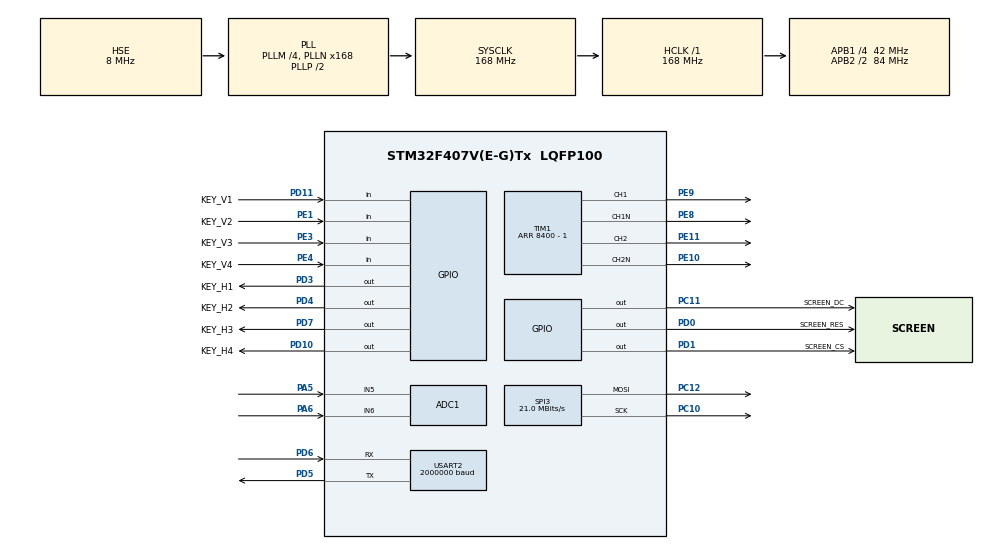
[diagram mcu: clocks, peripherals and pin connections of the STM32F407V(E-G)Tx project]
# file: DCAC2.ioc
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ADC1.Channel-0\#ChannelRegularConversion=ADC_CHANNEL_5
ADC1.Channel-1\#ChannelRegularConversion=ADC_CHANNEL_6
ADC1.ContinuousConvMode=ENABLE
ADC1.DMAContinuousRequests=ENABLE
ADC1.ExternalTrigConv=ADC_SOFTWARE_START
ADC1.ExternalTrigConvEdge=ADC_EXTERNALTRIGCONVEDGE_NONE
ADC1.NbrOfConversion=2
ADC1.NbrOfConversionFlag=1
ADC1.Rank-0\#ChannelRegularConversion=1
ADC1.Rank-1\#ChannelRegularConversion=2
ADC1.SamplingTime-0\#ChannelRegularConversion=ADC_SAMPLETIME_84CYCLES
ADC1.SamplingTime-1\#ChannelRegularConversion=ADC_SAMPLETIME_84CYCLES
ADC1.ScanConvMode=ENABLE
ADC1.master=1
Dma.ADC1.0.Direction=DMA_PERIPH_TO_MEMORY
Dma.ADC1.0.FIFOMode=DMA_FIFOMODE_DISABLE
Dma.ADC1.0.Instance=DMA2_Stream0
Dma.ADC1.0.MemDataAlignment=DMA_MDATAALIGN_WORD
Dma.ADC1.0.MemInc=DMA_MINC_ENABLE
Dma.ADC1.0.Mode=DMA_CIRCULAR
Dma.ADC1.0.PeriphDataAlignment=DMA_PDATAALIGN_WORD
Dma.ADC1.0.PeriphInc=DMA_PINC_DISABLE
Dma.ADC1.0.Priority=DMA_PRIORITY_LOW
Dma.Request0=ADC1
Mcu.Family=STM32F4
Mcu.Name=STM32F407V(E-G)Tx
Mcu.Package=LQFP100
NVIC.DMA2_Stream0_IRQn=true\:2\:0\:true\:false\:true\:false\:true\:true
NVIC.PriorityGroup=NVIC_PRIORITYGROUP_4
NVIC.TIM2_IRQn=true\:0\:0\:false\:false\:true\:true\:true\:true
NVIC.TIM3_IRQn=true\:0\:0\:false\:false\:true\:true\:true\:true
PA13.Mode=Serial_Wire
PA13.Signal=SYS_JTMS-SWDIO
PA14.Mode=Serial_Wire
PA14.Signal=SYS_JTCK-SWCLK
PA5.Signal=ADCx_IN5
PA6.Signal=ADCx_IN6
PC10.Mode=TX_Only_Simplex_Unidirect_Master
PC10.Signal=SPI3_SCK
PC11.GPIO_Label=SCREEN_DC
PC11.GPIO_Speed=GPIO_SPEED_FREQ_HIGH
PC11.PinState=GPIO_PIN_SET
PC11.Signal=GPIO_Output
PC12.Mode=TX_Only_Simplex_Unidirect_Master
PC12.Signal=SPI3_MOSI
PD0.GPIO_Label=SCREEN_RES
PD0.GPIO_Speed=GPIO_SPEED_FREQ_HIGH
PD0.PinState=GPIO_PIN_SET
PD0.Signal=GPIO_Output
PD1.GPIO_Label=SCREEN_CS
PD1.GPIO_Speed=GPIO_SPEED_FREQ_HIGH
PD1.PinState=GPIO_PIN_SET
PD1.Signal=GPIO_Output
PD10.GPIO_Label=KEY_H4
PD10.GPIO_ModeDefaultOutputPP=GPIO_MODE_OUTPUT_PP
PD10.GPIO_PuPd=GPIO_NOPULL
PD10.GPIO_Speed=GPIO_SPEED_FREQ_LOW
PD10.PinState=GPIO_PIN_SET
PD10.Signal=GPIO_Output
PD11.GPIO_Label=KEY_V1
PD11.GPIO_PuPd=GPIO_PULLUP
PD11.Signal=GPIO_Input
PD3.GPIO_Label=KEY_H1
PD3.GPIO_ModeDefaultOutputPP=GPIO_MODE_OUTPUT_PP
PD3.GPIO_PuPd=GPIO_NOPULL
PD3.GPIO_Speed=GPIO_SPEED_FREQ_LOW
PD3.PinState=GPIO_PIN_SET
PD3.Signal=GPIO_Output
PD4.GPIO_Label=KEY_H2
PD4.GPIO_ModeDefaultOutputPP=GPIO_MODE_OUTPUT_PP
PD4.GPIO_PuPd=GPIO_NOPULL
PD4.GPIO_Speed=GPIO_SPEED_FREQ_LOW
PD4.PinState=GPIO_PIN_SET
PD4.Signal=GPIO_Output
PD5.Mode=Asynchronous
PD5.Signal=USART2_TX
PD6.Mode=Asynchronous
PD6.Signal=USART2_RX
PD7.GPIO_Label=KEY_H3
PD7.GPIO_ModeDefaultOutputPP=GPIO_MODE_OUTPUT_PP
PD7.GPIO_PuPd=GPIO_NOPULL
PD7.GPIO_Speed=GPIO_SPEED_FREQ_LOW
PD7.PinState=GPIO_PIN_SET
PD7.Signal=GPIO_Output
PE1.GPIO_Label=KEY_V2
PE1.GPIO_PuPd=GPIO_PULLUP
PE1.Signal=GPIO_Input
PE10.Mode=PWM Generation2 CH2 CH2N
PE10.Signal=TIM1_CH2N
PE11.Signal=S_TIM1_CH2
PE3.GPIO_Label=KEY_V3
PE3.GPIO_PuPd=GPIO_PULLUP
PE3.Signal=GPIO_Input
PE4.GPIO_Label=KEY_V4
PE4.GPIO_PuPd=GPIO_PULLUP
PE4.Signal=GPIO_Input
PE8.Mode=PWM Generation1 CH1 CH1N
PE8.Signal=TIM1_CH1N
PE9.Signal=S_TIM1_CH1
PH0-OSC_IN.Mode=HSE-External-Oscillator
PH0-OSC_IN.Signal=RCC_OSC_IN
PH1-OSC_OUT.Mode=HSE-External-Oscillator
PH1-OSC_OUT.Signal=RCC_OSC_OUT
ProjectManager.HeapSize=0x200
ProjectManager.StackSize=0x400
ProjectManager.TargetToolchain=CMake
RCC.48MHZClocksFreq_Value=84000000
RCC.AHBFreq_Value=168000000
RCC.APB1CLKDivider=RCC_HCLK_DIV4
RCC.APB1Freq_Value=42000000
RCC.APB1TimFreq_Value=84000000
RCC.APB2CLKDivider=RCC_HCLK_DIV2
RCC.APB2Freq_Value=84000000
RCC.APB2TimFreq_Value=168000000
RCC.CortexFreq_Value=168000000
RCC.HCLKFreq_Value=168000000
RCC.HSE_VALUE=8000000
RCC.HSI_VALUE=16000000
RCC.LSE_VALUE=32768
RCC.PLLM=4
RCC.PLLN=168
RCC.PLLSourceVirtual=RCC_PLLSOURCE_HSE
RCC.SYSCLKFreq_VALUE=168000000
RCC.SYSCLKSource=RCC_SYSCLKSOURCE_PLLCLK
RCC.VCOOutputFreq_Value=336000000
SH.ADCx_IN5.0=ADC1_IN5,IN5
SH.ADCx_IN6.0=ADC1_IN6,IN6
SH.S_TIM1_CH1.0=TIM1_CH1,PWM Generation1 CH1 CH1N
SH.S_TIM1_CH2.0=TIM1_CH2,PWM Generation2 CH2 CH2N
SPI3.BaudRatePrescaler=SPI_BAUDRATEPRESCALER_2
SPI3.CalculateBaudRate=21.0 MBits/s
SPI3.Direction=SPI_DIRECTION_2LINES
SPI3.Mode=SPI_MODE_MASTER
SPI3.VirtualType=VM_MASTER
TIM1.Channel-PWM\ Generation1\ CH1\ CH1N=TIM_CHANNEL_1
TIM1.Channel-PWM\ Generation2\ CH2\ CH2N=TIM_CHANNEL_2
TIM1.DeadTime=15
TIM1.Period=8400 - 1
TIM1.Pulse-PWM\ Generation1\ CH1\ CH1N=4200
TIM1.Pulse-PWM\ Generation2\ CH2\ CH2N=4200
TIM2.MasterOutputTrigger=TIM_TRGO_UPDATE
TIM2.Period=4200 - 1
USART2.BaudRate=2000000
USART2.VirtualMode=VM_ASYNC
VP_TIM1_VS_ClockSourceINT.Mode=Internal
VP_TIM2_VS_ClockSourceINT.Mode=Internal
VP_TIM3_VS_ClockSourceINT.Mode=Internal
board=custom

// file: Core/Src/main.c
/* USER CODE BEGIN Header */
/**
  ******************************************************************************
  * @file           : main.c
  * @brief          : Main program body
  ******************************************************************************
  * @attention
  *
  * Copyright (c) 2026 STMicroelectronics.
  * All rights reserved.
  *
  * This software is licensed under terms that can be found in the LICENSE file
  * in the root directory of this software component.
  * If no LICENSE file comes with this software, it is provided AS-IS.
  *
  ******************************************************************************
  */
/* USER CODE END Header */
#include "main.h"
#include "adc.h"
#include "dma.h"
#include "spi.h"
#include "tim.h"
#include "usart.h"
#include "gpio.h"

/* USER CODE BEGIN Includes */
#include "oled.h"
#include "math.h"
#include <complex.h>
#include <stdio.h>
/* USER CODE END Includes */

/* USER CODE BEGIN PTD */
typedef struct
{
  float kp;                       //比例系数Proportional
  float ki;                       //积分系数Integral
  float kd;                       //微分系数Derivative
  float ek;                       //当前误差
  float ek1;                      //前一次误差e(k-1)
  float ek2;                      //再前一次误差e(k-2)
  float location_sum;             //累计积分位置
  float out;											//PID输出
}PID_LocTypeDef;

typedef struct Frame {
  float fdata[6];
  unsigned char tail[4]; // 固定帧尾
} Frame_t;

typedef struct SOGI{
    float ualfa_0;      // 输入信号 alpha 分量
    float SOGI_Ualfa;   // 输出正交 alpha
    float SOGI_Ubeta;   // 输出正交 beta

    float integral_2;   // alpha内部积分
    float integral_3;   // beta内部积分

    float Ugird_W0;     // ω0 = 2πf
    float samp_t;       // 采样周期
} SOGI_t;

typedef struct {
    float kp;
    float ki;
    float kd;
    float ek;
    float ek_1;
    float ek_2;
    float uk;
    float uk_1;
} PID_t;

typedef struct {
    float wt;       // 当前相位
    float w0;       // 当前角频�??????????????????
    PID_t pid;      // PLL的PID
    SOGI_t sogi;    // SOGI结构
  } PLL_t;

typedef struct{
    float kp ;
    float kr ;
    float wi ;
    float reference ;
    float ts ;
    float L_vir;
    float output_of_backward_integrator ;
    float output_of_feedback ;
    float output_of_forward_integrator ;
    float last_input_of_forward_integrator ;
    float error;
    float input_of_forward_integrator;
    float output ;
}PR_t;
/* USER CODE END PTD */

/* USER CODE BEGIN PD */
#define SAMPLE_SIZE   4
#define PAID          3.1415926
#define T_sample      0.00005f     //系统采样频率20kHz
#define Gird_f        50           //系统电网频率50Hz
#define ROOT_2        1.414f
#define REROOT_2      0.707f

#define OLED_REFRESH_MS 200U
#define VOFA_SEND_DIVIDER 20U
#define START_KEY_DEBOUNCE_MS 30U
#define PWM_PERIOD_COUNTS 8400U
#define PWM_HALF_PERIOD_COUNTS 4200U
#define PWM_OUTPUT_PINS (GPIO_PIN_8|GPIO_PIN_9|GPIO_PIN_10|GPIO_PIN_11)
/* USER CODE END PD */

/* USER CODE BEGIN PV */
float  sin_1[400] = {0};

uint16_t UO_Duty, IO_Duty;
uint16_t UO_cnt = 0, IO_cnt = 0;
uint16_t vofa_send_cnt = 0;
float ww;
float m = 0.75f, m_transition = 0.75f, n;
float uq,ud;

uint32_t dma_adc_buffer[2] = {0};

PLL_t UO_PLL;
PID_LocTypeDef UO_PID;
volatile float UO, UO_RMS, UO_AIM, UO_PID_SUM, UO_PID_RMS;

// PLL_t IO_PLL;
PR_t IO_PR;
volatile float IO, IO_AIM, IO_REF;
// volatile float IO_RMS;
static volatile uint8_t app_spwm_started = 0U;
/* USER CODE END PV */

void SystemClock_Config(void);
/* USER CODE BEGIN PFP */
void SinglePhase(void);
void PLL_update(PLL_t *pll, float ualpha_input);
void Sogi_fun(SOGI_t *sogi);
void PLL_Init(PLL_t *pll);
void Sogi_Init(SOGI_t *sogi);
void dq_pll(PLL_t *pll);
float zl_pid_increase(float error, PID_t *pid);
void UART_SendFrame(UART_HandleTypeDef *huart, float ch1,float ch2,float ch3, float ch4, float ch5, float ch6);
void PID_Init(PID_LocTypeDef *PID);
float PID_location(float setvalue, float actualvalue, float PID_LIMIT_MIN, float PID_LIMIT_MAX, PID_LocTypeDef *PID);
void PR_Init(PR_t *s, float kp_set, float kr_set, float wi_set, float ts);
void PR_calc(PR_t *s, float reference, float feedback, float wg);
static void App_StartSpwm(void);
static void App_StopSpwm(void);
static void App_DrawMenu(void);
static void App_DrawRunStatus(void);
static void App_PwmOutputsToTimerAf(void);
static void App_PwmOutputsToGpioLow(void);
static uint8_t Keypad1Pressed(void);
/* USER CODE END PFP */

int main(void)
{

  /* MCU Configuration--------------------------------------------------------*/

  /* Reset of all peripherals, Initializes the Flash interface and the Systick. */
  HAL_Init();

  /* USER CODE BEGIN Init */
  SinglePhase();
  UO_AIM = 24.0f;
  IO_AIM = 2.0f;

  PLL_Init(&UO_PLL);
  PID_Init(&UO_PID);

  UO_PID.location_sum = m / UO_PID.ki;
  UO_PID.out = m;

  // PLL_Init(&IO_PLL);
  PR_Init(&IO_PR, 0.001, 10, 2, 0.00005);
  /* USER CODE END Init */

  /* Configure the system clock */
  SystemClock_Config();

  /* Initialize all configured peripherals */
  MX_GPIO_Init();
  MX_DMA_Init();
  MX_ADC1_Init();
  MX_TIM1_Init();
  MX_TIM2_Init();
  MX_SPI3_Init();
  MX_USART2_UART_Init();
  MX_TIM3_Init();
  /* USER CODE BEGIN 2 */
  __HAL_TIM_SET_COMPARE(&htim1, TIM_CHANNEL_1, 0U);
  __HAL_TIM_SET_COMPARE(&htim1, TIM_CHANNEL_2, 0U);
  App_StopSpwm();

  HAL_ADC_Start_DMA(&hadc1,dma_adc_buffer,2);
  __HAL_DMA_DISABLE_IT(hadc1.DMA_Handle, DMA_IT_HT | DMA_IT_TC);

  HAL_Delay(100);
  OLED_Init();
  App_DrawMenu();
  /* USER CODE END 2 */

  /* Infinite loop */
  while (1)
  {

    /* USER CODE BEGIN 3 */
    static uint32_t last_oled_refresh = 0U;

    if (Keypad1Pressed() != 0U)
    {
      if (app_spwm_started == 0U)
      {
        App_StartSpwm();
        App_DrawRunStatus();
      }
      else
      {
        App_StopSpwm();
        App_DrawMenu();
      }
      last_oled_refresh = HAL_GetTick();
    }

    if ((HAL_GetTick() - last_oled_refresh) >= OLED_REFRESH_MS)
    {
      last_oled_refresh = HAL_GetTick();

      if (app_spwm_started == 0U)
      {
        App_DrawMenu();
      }
      else
      {
        App_DrawRunStatus();
      }
    }
  }
  /* USER CODE END 3 */
}

void SystemClock_Config(void)
{
  RCC_OscInitTypeDef RCC_OscInitStruct = {0};
  RCC_ClkInitTypeDef RCC_ClkInitStruct = {0};

  /** Configure the main internal regulator output voltage
  */
  __HAL_RCC_PWR_CLK_ENABLE();
  __HAL_PWR_VOLTAGESCALING_CONFIG(PWR_REGULATOR_VOLTAGE_SCALE1);

  /** Initializes the RCC Oscillators according to the specified parameters
  * in the RCC_OscInitTypeDef structure.
  */
  RCC_OscInitStruct.OscillatorType = RCC_OSCILLATORTYPE_HSE;
  RCC_OscInitStruct.HSEState = RCC_HSE_ON;
  RCC_OscInitStruct.PLL.PLLState = RCC_PLL_ON;
  RCC_OscInitStruct.PLL.PLLSource = RCC_PLLSOURCE_HSE;
  RCC_OscInitStruct.PLL.PLLM = 4;
  RCC_OscInitStruct.PLL.PLLN = 168;
  RCC_OscInitStruct.PLL.PLLP = RCC_PLLP_DIV2;
  RCC_OscInitStruct.PLL.PLLQ = 4;
  if (HAL_RCC_OscConfig(&RCC_OscInitStruct) != HAL_OK)
  {
    Error_Handler();
  }

  /** Initializes the CPU, AHB and APB buses clocks
  */
  RCC_ClkInitStruct.ClockType = RCC_CLOCKTYPE_HCLK|RCC_CLOCKTYPE_SYSCLK
                              |RCC_CLOCKTYPE_PCLK1|RCC_CLOCKTYPE_PCLK2;
  RCC_ClkInitStruct.SYSCLKSource = RCC_SYSCLKSOURCE_PLLCLK;
  RCC_ClkInitStruct.AHBCLKDivider = RCC_SYSCLK_DIV1;
  RCC_ClkInitStruct.APB1CLKDivider = RCC_HCLK_DIV4;
  RCC_ClkInitStruct.APB2CLKDivider = RCC_HCLK_DIV2;

  if (HAL_RCC_ClockConfig(&RCC_ClkInitStruct, FLASH_LATENCY_5) != HAL_OK)
  {
    Error_Handler();
  }
}

/* USER CODE BEGIN 4 */
static void App_StartSpwm(void)
{
  App_PwmOutputsToTimerAf();

  UO_cnt = 0U;
  IO_cnt = 0U;
  vofa_send_cnt = 0U;
  UO_PID_SUM = 0.0f;
  UO_PID_RMS = 0.0f;
  UO = 0.0f;
  IO = 0.0f;
  IO_REF = 0.0f;
  m = 0.75f;
  m_transition = m;
  n = 0.5f;
  UO_Duty = PWM_HALF_PERIOD_COUNTS;
  IO_Duty = PWM_HALF_PERIOD_COUNTS;

  PLL_Init(&UO_PLL);
  PID_Init(&UO_PID);
  UO_PID.location_sum = m / UO_PID.ki;
  UO_PID.out = m;
  PR_Init(&IO_PR, 0.001f, 10.0f, 2.0f, T_sample);

  __HAL_TIM_SET_COMPARE(&htim1, TIM_CHANNEL_1, UO_Duty);
  __HAL_TIM_SET_COMPARE(&htim1, TIM_CHANNEL_2, IO_Duty);

  app_spwm_started = 1U;

  HAL_TIM_Base_Start_IT(&htim1);
  HAL_TIM_PWM_Start(&htim1,TIM_CHANNEL_1);
  HAL_TIMEx_PWMN_Start(&htim1, TIM_CHANNEL_1);
  HAL_TIM_PWM_Start(&htim1,TIM_CHANNEL_2);
  HAL_TIMEx_PWMN_Start(&htim1, TIM_CHANNEL_2);
  HAL_TIM_OC_Start(&htim1, TIM_CHANNEL_3);
}

static void App_StopSpwm(void)
{
  app_spwm_started = 0U;

  HAL_TIM_OC_Stop(&htim1, TIM_CHANNEL_3);
  HAL_TIM_PWM_Stop(&htim1, TIM_CHANNEL_1);
  HAL_TIMEx_PWMN_Stop(&htim1, TIM_CHANNEL_1);
  HAL_TIM_PWM_Stop(&htim1, TIM_CHANNEL_2);
  HAL_TIMEx_PWMN_Stop(&htim1, TIM_CHANNEL_2);
  HAL_TIM_Base_Stop_IT(&htim1);

  __HAL_TIM_SET_COMPARE(&htim1, TIM_CHANNEL_1, 0U);
  __HAL_TIM_SET_COMPARE(&htim1, TIM_CHANNEL_2, 0U);
  __HAL_TIM_SET_COUNTER(&htim1, 0U);

  UO_Duty = 0U;
  IO_Duty = 0U;
  UO_cnt = 0U;
  IO_cnt = 0U;
  vofa_send_cnt = 0U;
  UO_PID_SUM = 0.0f;
  UO_PID_RMS = 0.0f;
  IO_REF = 0.0f;
  n = 0.0f;

  App_PwmOutputsToGpioLow();
}

static void App_DrawMenu(void)
{
  OLED_NewFrame();
  OLED_PrintASCIIString(24, 0, "MENU", &afont16x8, OLED_COLOR_NORMAL);
  OLED_PrintASCIIString(0, 16, "SPWM: OFF", &afont16x8, OLED_COLOR_NORMAL);
  OLED_PrintASCIIString(0, 32, "PRESS KEY", &afont16x8, OLED_COLOR_NORMAL);
  OLED_PrintASCIIString(0, 48, "TO START", &afont16x8, OLED_COLOR_NORMAL);
  OLED_ShowFrame();
}

static void App_DrawRunStatus(void)
{
  OLED_NewFrame();
  OLED_PrintASCIIString(0, 0, "UO_RMS:", &afont16x8, OLED_COLOR_NORMAL);
  OLED_PrintFloat(64, 0, UO_RMS, 3U, &afont16x8, OLED_COLOR_NORMAL);
  OLED_PrintASCIIString(0, 16, "Wt:", &afont16x8, OLED_COLOR_NORMAL);
  OLED_PrintFloat(64, 16, UO_PLL.wt, 3U, &afont16x8, OLED_COLOR_NORMAL);
  OLED_PrintASCIIString(0, 32, "IO_RMS:", &afont16x8, OLED_COLOR_NORMAL);
  // OLED_PrintFloat(64, 32, IO_RMS, 3U, &afont16x8, OLED_COLOR_NORMAL);
  OLED_ShowFrame();
}

static void App_PwmOutputsToTimerAf(void)
{
  GPIO_InitTypeDef GPIO_InitStruct = {0};

  __HAL_RCC_GPIOE_CLK_ENABLE();
  GPIO_InitStruct.Pin = PWM_OUTPUT_PINS;
  GPIO_InitStruct.Mode = GPIO_MODE_AF_PP;
  GPIO_InitStruct.Pull = GPIO_NOPULL;
  GPIO_InitStruct.Speed = GPIO_SPEED_FREQ_LOW;
  GPIO_InitStruct.Alternate = GPIO_AF1_TIM1;
  HAL_GPIO_Init(GPIOE, &GPIO_InitStruct);
}

static void App_PwmOutputsToGpioLow(void)
{
  GPIO_InitTypeDef GPIO_InitStruct = {0};

  __HAL_RCC_GPIOE_CLK_ENABLE();
  HAL_GPIO_WritePin(GPIOE, PWM_OUTPUT_PINS, GPIO_PIN_RESET);

  GPIO_InitStruct.Pin = PWM_OUTPUT_PINS;
  GPIO_InitStruct.Mode = GPIO_MODE_OUTPUT_PP;
  GPIO_InitStruct.Pull = GPIO_NOPULL;
  GPIO_InitStruct.Speed = GPIO_SPEED_FREQ_LOW;
  HAL_GPIO_Init(GPIOE, &GPIO_InitStruct);
  HAL_GPIO_WritePin(GPIOE, PWM_OUTPUT_PINS, GPIO_PIN_RESET);
}

void HAL_TIM_PeriodElapsedCallback(TIM_HandleTypeDef *htim)
{
  if(htim == &htim1)
  {
    if (app_spwm_started == 0U)
    {
      return;
    }

    // duty = 4200 + 4200 * m * cos(2 * PAID * cnt++ * T_sample);
    // if (cnt >= 20000) cnt = 0;
    UO = ((float)(dma_adc_buffer[0] / 4096.0f) * 3.3f - 1.56f) * 33.8f;
    IO = -((float)(dma_adc_buffer[1] / 4096.0f) * 3.3f - 1.5f) * (1173.1f / 330.0f);

    UO_Duty = PWM_HALF_PERIOD_COUNTS + PWM_HALF_PERIOD_COUNTS * m * sin_1[UO_cnt++];
    if (UO_cnt >= 400) UO_cnt = 0;

    PLL_update(&UO_PLL, UO);
    UO_RMS = REROOT_2 * sqrtf(UO_PLL.sogi.SOGI_Ualfa * UO_PLL.sogi.SOGI_Ualfa + UO_PLL.sogi.SOGI_Ubeta * UO_PLL.sogi.SOGI_Ubeta);

    UO_PID_SUM += UO_RMS;
    if (UO_cnt % 200 == 0)
    {
      UO_PID_RMS = UO_PID_SUM / 200.0f;
      UO_PID_SUM = 0.0f;
      m_transition = PID_location(UO_AIM, UO_PID_RMS, 0.2f, 0.9f, &UO_PID);
    }
    if (UO_cnt == 100 || UO_cnt == 300) m = m_transition;

    __HAL_TIM_SET_COMPARE(&htim1, TIM_CHANNEL_1, UO_Duty);

    IO_REF = ROOT_2 * IO_AIM * cos(UO_PLL.wt - 0.375f);
    PR_calc(&IO_PR, IO_REF, IO, UO_PLL.w0);
    n=(IO_PR.output) / 50.0f + 0.5;
    if (n >= 0.95) n = 0.95;
    if (n <= 0.05) n = 0.05;
    IO_Duty = PWM_PERIOD_COUNTS * n;

    __HAL_TIM_SET_COMPARE(&htim1, TIM_CHANNEL_2, IO_Duty);
  }
}

void SinglePhase(void)
{
    for(int i = 0; i < 400; i++ )
    {
		sin_1[i] =cos( PAID * i/200.0);
	}
}

void UART_SendFrame(UART_HandleTypeDef *huart, float ch1,float ch2,float ch3, float ch4, float ch5, float ch6)
{
  Frame_t frame;

  frame.fdata[0] = ch1;
  frame.fdata[1] = ch2;
  frame.fdata[2] = ch3;
  frame.fdata[3] = ch4;
  frame.fdata[4] = ch5;
  frame.fdata[5] = ch6;

  // 设置帧尾（VOFA+默认识别的帧尾）
  frame.tail[0] = 0x00;
  frame.tail[1] = 0x00;
  frame.tail[2] = 0x80;
  frame.tail[3] = 0x7F;

  HAL_UART_Transmit(huart, (uint8_t *)&frame, sizeof(Frame_t), HAL_MAX_DELAY);
}

void PLL_Init(PLL_t *pll)
{
  pll->wt = 0;
  pll->w0 = 2 * Gird_f * PAID; // 初始频率
  pll->pid.kp = 10;
  pll->pid.ki = 0.2;
  pll->pid.kd = 0;
  pll->pid.uk = 0;
  pll->pid.ek = pll->pid.ek_1 = pll->pid.ek_2 = 0;

  Sogi_Init(&pll->sogi);
}

void Sogi_Init(SOGI_t *sogi)
{
	sogi->Ugird_W0=2 * Gird_f * PAID;
  sogi->integral_2 = 0;
  sogi->integral_3 = 0;
  sogi->samp_t = T_sample;
}

void PID_Init(PID_LocTypeDef *PID)
{
  PID->kp = 0.005f;
  PID->ki = 0.0030f;
  PID->kd = 0;
  PID->ek = 0;
	PID->ek1 = 0;
	PID->ek2 = 0;
  PID->location_sum = 0;
  PID->out = 0;
}

void PLL_update(PLL_t *pll, float ualpha_input)
{
  pll->sogi.ualfa_0 = ualpha_input;
  Sogi_fun(&pll->sogi);
  dq_pll(pll);
}

void Sogi_fun(SOGI_t *sogi)
{
  float x_a = (sogi->ualfa_0 - sogi->integral_2) * 1.0f;
  sogi->integral_2 += sogi->Ugird_W0 * (x_a - sogi->integral_3) * sogi->samp_t;
  sogi->SOGI_Ualfa = sogi->integral_2;

  sogi->integral_3 += sogi->Ugird_W0 * sogi->integral_2 * sogi->samp_t;
  sogi->SOGI_Ubeta = sogi->integral_3;
}

float PID_location(float setvalue, float actualvalue, float PID_LIMIT_MIN, float PID_LIMIT_MAX, PID_LocTypeDef *PID)
{
	PID->ek =setvalue-actualvalue;
	PID->location_sum += PID->ek;                         //计算累计误差
	if((PID->ki!=0)&&(PID->location_sum>(PID_LIMIT_MAX/PID->ki))) PID->location_sum=PID_LIMIT_MAX/PID->ki;
	if((PID->ki!=0)&&(PID->location_sum < 0)) PID->location_sum = 0;//积分限幅

  PID->out=PID->kp*PID->ek+(PID->ki*PID->location_sum)+PID->kd*(PID->ek-PID->ek1);
  PID->ek1 = PID->ek;
	if(PID->out<PID_LIMIT_MIN)	PID->out=PID_LIMIT_MIN;
	if(PID->out>PID_LIMIT_MAX)	PID->out=PID_LIMIT_MAX;//PID->out限幅

	return PID->out;
}

void dq_pll(PLL_t *pll)
{
  float c = cosf(pll->wt);
  float s = sinf(pll->wt);

  uq = c * pll->sogi.SOGI_Ubeta - s * pll->sogi.SOGI_Ualfa;
  ud = c * pll->sogi.SOGI_Ualfa + s * pll->sogi.SOGI_Ubeta;

  float con_increase = zl_pid_increase(-uq, &pll->pid);
  pll->w0 = 2*Gird_f*PAID - con_increase;
  pll->wt += pll->w0 * pll->sogi.samp_t;
  if (pll->wt >= 2 * PAID ) pll->wt -= 2 * PAID ;
}

float zl_pid_increase(float error, PID_t *pid)
{
  pid->ek = error;
  float delta_u = pid->kp * (pid->ek - pid->ek_1)
                + pid->ki * pid->ek
                + pid->kd * (pid->ek - 2 * pid->ek_1 + pid->ek_2);
  pid->ek_2 = pid->ek_1;
  pid->ek_1 = pid->ek;
  pid->uk += delta_u;
  return pid->uk;
}

void PR_Init(PR_t *s, float kp_set, float kr_set, float wi_set, float ts)
{
    s->kp = kp_set ;
    s->kr = kr_set ;
    s->wi = wi_set ;
    s->ts = ts ;
    s->L_vir=0;
    s->output_of_feedback = 0;
    s->output_of_backward_integrator = 0;
    s->output_of_forward_integrator = 0 ;
    s->error=0;
    s->input_of_forward_integrator=0;
    s->reference = 0 ;
    s->output= 0 ;
}

void PR_calc(PR_t *s, float reference, float feedback, float wg)
{
    s->reference = reference;

    s->error = reference - feedback ;
    s->input_of_forward_integrator = 2 * s->wi * s->kr * s->error - s->output_of_feedback;
    // Forward integrator :
    s->output_of_forward_integrator += s->ts *  s->input_of_forward_integrator;

    // Backward integrator:
    s->output_of_backward_integrator += s->ts * s->output_of_forward_integrator * wg * wg ;

    s->output_of_feedback = s->output_of_backward_integrator + 2 * s->wi * s->output_of_forward_integrator ;

    s->output=s->output_of_forward_integrator + s->kp* s->error;
}

static uint8_t Keypad1Pressed(void)
{
  static uint8_t key_down = 0U;
  static uint32_t press_start_tick = 0U;
  uint8_t pressed = 0U;
  uint32_t now = HAL_GetTick();

  HAL_GPIO_WritePin(GPIOD, KEY_H1_Pin|KEY_H2_Pin|KEY_H3_Pin|KEY_H4_Pin, GPIO_PIN_SET);

  HAL_GPIO_WritePin(KEY_H1_GPIO_Port, KEY_H1_Pin, GPIO_PIN_RESET);
  for (volatile uint32_t i = 0U; i < 100U; ++i) { __NOP(); }
  pressed = (HAL_GPIO_ReadPin(KEY_V1_GPIO_Port, KEY_V1_Pin) == GPIO_PIN_RESET) ||
            (HAL_GPIO_ReadPin(KEY_V2_GPIO_Port, KEY_V2_Pin) == GPIO_PIN_RESET) ||
            (HAL_GPIO_ReadPin(KEY_V3_GPIO_Port, KEY_V3_Pin) == GPIO_PIN_RESET) ||
            (HAL_GPIO_ReadPin(KEY_V4_GPIO_Port, KEY_V4_Pin) == GPIO_PIN_RESET);
  HAL_GPIO_WritePin(KEY_H1_GPIO_Port, KEY_H1_Pin, GPIO_PIN_SET);

  if (pressed == 0U)
  {
    HAL_GPIO_WritePin(KEY_H2_GPIO_Port, KEY_H2_Pin, GPIO_PIN_RESET);
    for (volatile uint32_t i = 0U; i < 100U; ++i) { __NOP(); }
    pressed = (HAL_GPIO_ReadPin(KEY_V1_GPIO_Port, KEY_V1_Pin) == GPIO_PIN_RESET) ||
              (HAL_GPIO_ReadPin(KEY_V2_GPIO_Port, KEY_V2_Pin) == GPIO_PIN_RESET) ||
              (HAL_GPIO_ReadPin(KEY_V3_GPIO_Port, KEY_V3_Pin) == GPIO_PIN_RESET) ||
              (HAL_GPIO_ReadPin(KEY_V4_GPIO_Port, KEY_V4_Pin) == GPIO_PIN_RESET);
    HAL_GPIO_WritePin(KEY_H2_GPIO_Port, KEY_H2_Pin, GPIO_PIN_SET);
  }

  if (pressed == 0U)
  {
    HAL_GPIO_WritePin(KEY_H3_GPIO_Port, KEY_H3_Pin, GPIO_PIN_RESET);
    for (volatile uint32_t i = 0U; i < 100U; ++i) { __NOP(); }
    pressed = (HAL_GPIO_ReadPin(KEY_V1_GPIO_Port, KEY_V1_Pin) == GPIO_PIN_RESET) ||
              (HAL_GPIO_ReadPin(KEY_V2_GPIO_Port, KEY_V2_Pin) == GPIO_PIN_RESET) ||
              (HAL_GPIO_ReadPin(KEY_V3_GPIO_Port, KEY_V3_Pin) == GPIO_PIN_RESET) ||
              (HAL_GPIO_ReadPin(KEY_V4_GPIO_Port, KEY_V4_Pin) == GPIO_PIN_RESET);
    HAL_GPIO_WritePin(KEY_H3_GPIO_Port, KEY_H3_Pin, GPIO_PIN_SET);
  }

  if (pressed == 0U)
  {
    HAL_GPIO_WritePin(KEY_H4_GPIO_Port, KEY_H4_Pin, GPIO_PIN_RESET);
    for (volatile uint32_t i = 0U; i < 100U; ++i) { __NOP(); }
    pressed = (HAL_GPIO_ReadPin(KEY_V1_GPIO_Port, KEY_V1_Pin) == GPIO_PIN_RESET) ||
              (HAL_GPIO_ReadPin(KEY_V2_GPIO_Port, KEY_V2_Pin) == GPIO_PIN_RESET) ||
              (HAL_GPIO_ReadPin(KEY_V3_GPIO_Port, KEY_V3_Pin) == GPIO_PIN_RESET) ||
              (HAL_GPIO_ReadPin(KEY_V4_GPIO_Port, KEY_V4_Pin) == GPIO_PIN_RESET);
    HAL_GPIO_WritePin(KEY_H4_GPIO_Port, KEY_H4_Pin, GPIO_PIN_SET);
  }

  if (pressed == 0U)
  {
    key_down = 0U;
    press_start_tick = 0U;
    return 0U;
  }

  if (key_down != 0U)
  {
    return 0U;
  }

  if (press_start_tick == 0U)
  {
    press_start_tick = HAL_GetTick();
    return 0U;
  }

  if ((now - press_start_tick) < START_KEY_DEBOUNCE_MS)
  {
    return 0U;
  }

  key_down = 1U;
  return 1U;
}

/* USER CODE END 4 */

void Error_Handler(void)
{
  __disable_irq();
  while (1)
  {
  }
}
